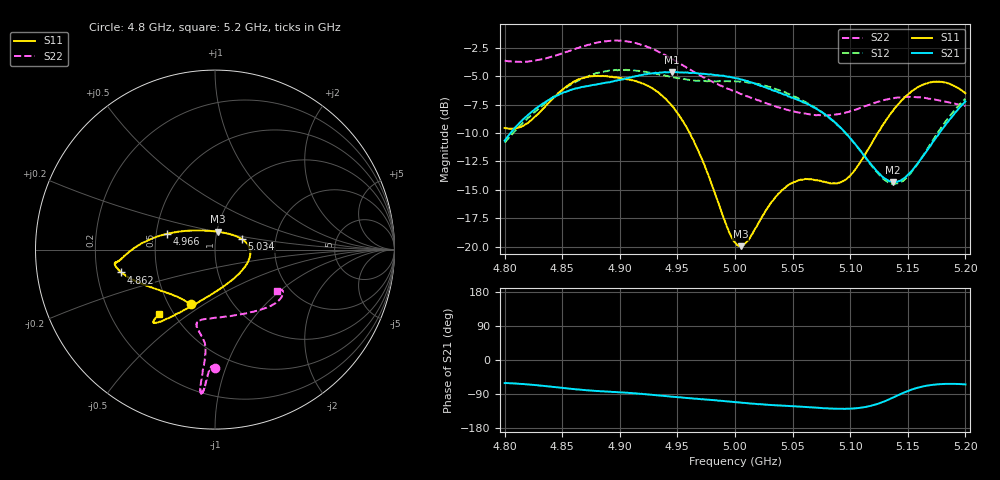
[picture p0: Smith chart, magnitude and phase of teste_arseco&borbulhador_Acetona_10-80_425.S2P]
! Network Analyzer HP8722D
! Hewlett-Packard
! Data name: Linha & Wilkinson
! Saver's name: Rodrigo Anjos
! Comments: Teste da utilização de aquisição
! continua pelo VNA HP8722D
! Time and date: 17/4/2025 17:54
!  Frequency  S11  S21  S12  S22
# HZ  S  MA R 50
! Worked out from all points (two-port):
!   401 points, 4.8 GHz to 5.2 GHz, reference 50 ohm
!   highest |S21| = -4.63 dB at 4.945 GHz (marker M1); lowest = -14.3 dB at 5.137 GHz (marker M2)
!   |S21| within 3 dB of the highest: 4.83 GHz to 5.066 GHz (236.2 MHz wide, 4.77 % of centre); 5.196253 GHz to end of sweep
!   lowest |S11| = -20.0 dB at 5.005 GHz (marker M3), VSWR 1.22, Z = 50.5 + j10.1 ohm
!   |S11| at or under -10 dB: 4.961 GHz to 5.124 GHz (163.1 MHz wide, 3.24 % of centre)
!   |S22| runs from -8.5 to -1.9 dB; largest |S21 - S12| = 0.88
!   S11 on the Smith chart (normalised r, x): 4.8 GHz: 0.65, -0.44; 4.862 GHz: 0.31, -0.11; 4.966 GHz: 0.57, +0.11; 5.034 GHz: 1.35, +0.16; 5.2 GHz: 0.42, -0.39
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4.8e9  0.3327 -113.7  0.2925 -61.0  0.2869 -175.0  0.6577 -90.1
4.819e9  0.3474 -133.7  0.3744 -64.1  0.362 -173.7  0.6519 -91.7
4.862e9  0.5371 -166.3  0.4974 -77.2  0.5313 -177.0  0.744 -94.0
4.867e9  0.5501 -168.3  0.5041 -78.7  0.5465 -178.1  0.76 -94.2
4.9e9  0.552 -172.8  0.5403 -85.2  0.5986 175.4  0.8053 -95.5
4.934e9  0.475 -178.8  0.582 -93.6  0.5731 171.7  0.7175 -96.0
4.945e9  0.4181 176.0  0.5867 -96.7  0.5587 172.0  0.6706 -95.7
4.966e9  0.279 161.6  0.58 -101.9  0.5364 173.7  0.5801 -95.2
5e9  0.1043 98.7  0.5519 -111.1  0.534 176.0  0.4806 -99.3
5.005e9  0.1005 81.3  0.5438 -112.5  0.5325 176.1  0.4692 -100.6
5.012e9  0.1074 59.7  0.5315 -114.5  0.5263 175.8  0.4564 -102.1
5.034e9  0.1622 20.7  0.4842 -119.3  0.4961 174.7  0.4162 -103.8
5.049e9  0.1897 5.1  0.4524 -121.8  0.4635 174.1  0.3945 -100.0
5.067e9  0.1976 -13.9  0.4138 -125.2  0.4165 173.5  0.3805 -90.6
5.086e9  0.1899 -44.2  0.3552 -128.3  0.3536 173.8  0.3803 -76.2
5.097e9  0.1985 -67.0  0.3118 -128.7  0.3123 174.7  0.3898 -67.1
5.134e9  0.3776 -117.0  0.1939 -103.5  0.1909 -156.6  0.4468 -42.9
5.137e9  0.3952 -118.8  0.1921 -99.5  0.1894 -151.8  0.4498 -41.7
5.15e9  0.4667 -124.6  0.2066 -82.0  0.2035 -131.7  0.4557 -36.7
5.17e9  0.5284 -129.3  0.2789 -66.1  0.2844 -112.4  0.4469 -32.0
5.184e9  0.5246 -130.7  0.3505 -63.0  0.3618 -107.3  0.433 -31.1
5.2e9  0.4727 -131.0  0.4356 -64.5  0.4475 -106.6  0.416 -33.5
